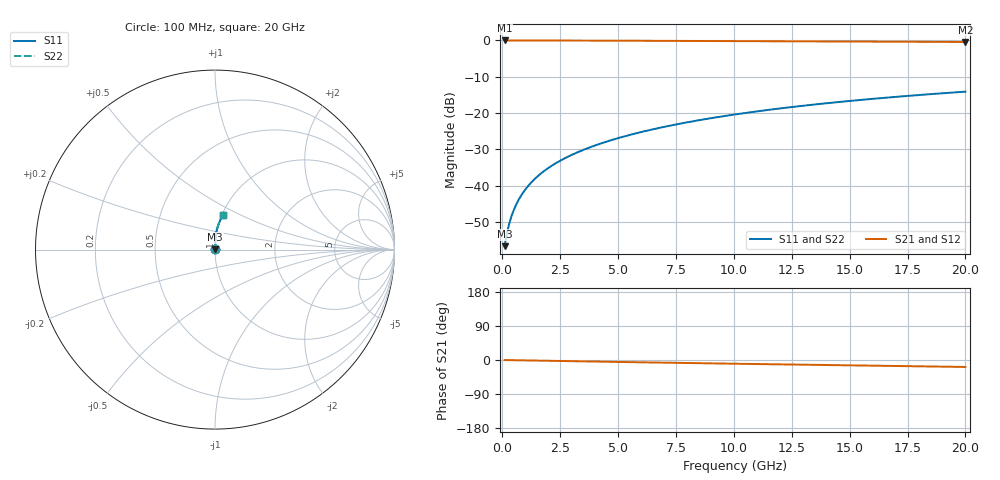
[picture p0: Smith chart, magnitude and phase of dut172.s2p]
! Touchstone file exported from HFSS 2024.1.0
!  File:  C:/UserFiles/LocalFiles/RDL_TSV_Batchsim/temp_RDL_bottom_172_1778698311.aedt
!  Generated:  02:54:34 AM May 14, 2026
!  Design:  RDL_bottom
!  Project:  temp_RDL_bottom_172_1778698311
!  Setup:  Setup1
!  Solution:  Sweep
! Variables:
!  dtsv = 10.80580581um
!  hbump = 3um
!  htsv = 96.53um
!  ldown = 230.54um
!  lrdl = 100um
!  p = 40
!  p1 = 50.06um
!  rhole = 1um
!  t = 450um
!  tdown = 4.04um
!  trdl = 3.915915916um
!  wdown = 21.94um
!  wrdl = 20um
# GHz S MA R 50.000000
! Terminal data exported
! Port[1] = RDL1_T1
! Port[2] = RDL1_T2
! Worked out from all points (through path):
!   200 points, 100 MHz to 20 GHz, reference 50 ohm
!   highest |S21| = -0.01 dB at 100 MHz (marker M1); lowest = -0.4 dB at 20 GHz (marker M2)
!   group delay of S21, straight-line fit = 2.53 ps
!   lowest |S11| = -56.7 dB at 100 MHz (marker M3), VSWR 1.00, Z = 50.1 + j0.0949 ohm
!   |S11| at or under -10 dB: start of sweep to end of sweep
!   |S22| runs from -56.7 to -14.1 dB; largest |S21 - S12| = 6.3e-15
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0.1  0.001459 40.5  0.9989 -0.1  0.9989 -0.1  0.001459 40.5
! Gamma 0 0 0 0
! Port Impedance 50 0 50 0
0.2  0.00219 57.9  0.9988 -0.2  0.9988 -0.2  0.00219 57.9
0.3  0.002987 66.1  0.9988 -0.3  0.9988 -0.3  0.002987 66.1
0.4  0.003802 70.9  0.9987 -0.4  0.9987 -0.4  0.003802 70.9
0.5  0.004628 74.2  0.9986 -0.5  0.9986 -0.5  0.004628 74.2
0.6  0.005462 76.5  0.9986 -0.6  0.9986 -0.6  0.005462 76.5
0.8  0.007152 79.6  0.9984 -0.9  0.9984 -0.9  0.007152 79.6
1.1  0.009719 82.4  0.9982 -1.2  0.9982 -1.2  0.009719 82.4
1.5  0.01318 84.5  0.9979 -1.6  0.9979 -1.6  0.01318 84.5
1.8  0.0158 85.5  0.9976 -1.9  0.9976 -1.9  0.0158 85.5
2.1  0.01844 86.2  0.9972 -2.2  0.9972 -2.2  0.01844 86.2
2.7  0.02377 87.2  0.9963 -2.8  0.9963 -2.8  0.02377 87.2
3.5  0.031 87.9  0.9949 -3.7  0.9949 -3.7  0.031 87.9
4.2  0.03745 88.2  0.9934 -4.4  0.9934 -4.4  0.03745 88.2
5  0.04498 88.4  0.9916 -5.1  0.9916 -5.1  0.04498 88.4
5.9  0.05363 88.3  0.9893 -6.0  0.9893 -6.0  0.05363 88.3
6.8  0.06246 88.1  0.987 -6.9  0.987 -6.9  0.06246 88.1
8.4  0.07852 87.2  0.9828 -8.4  0.9828 -8.4  0.07852 87.2
10.1  0.09592 86.0  0.9782 -9.9  0.9782 -9.9  0.09592 86.0
13.4  0.13 83.2  0.9695 -12.8  0.9695 -12.8  0.13 83.2
16.7  0.1638 80.0  0.9607 -15.6  0.9607 -15.6  0.1638 80.0
20  0.1967 76.9  0.9518 -18.4  0.9518 -18.4  0.1967 76.9
